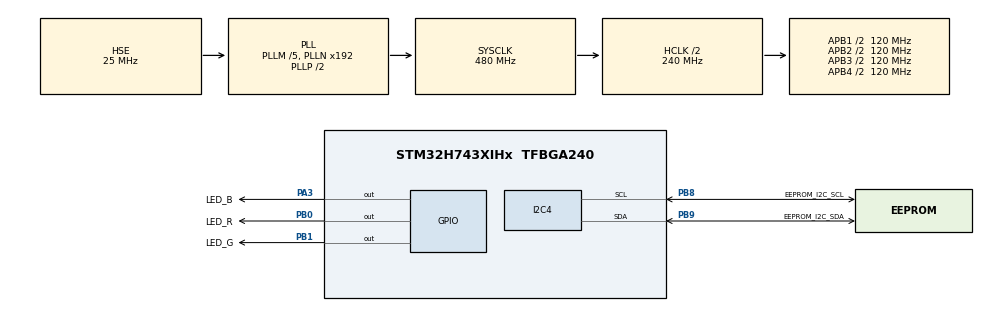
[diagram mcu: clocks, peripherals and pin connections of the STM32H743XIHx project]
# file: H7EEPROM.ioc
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I2C4.CustomTiming=Enabled
I2C4.DualAddressMode=I2C_DUALADDRESS_DISABLE
I2C4.GeneralCallMode=I2C_GENERALCALL_DISABLE
I2C4.Timing=0x40604E73
Mcu.Family=STM32H7
Mcu.Name=STM32H743XIHx
Mcu.Package=TFBGA240
NVIC.PriorityGroup=NVIC_PRIORITYGROUP_4
PA3.GPIO_Label=LED_B
PA3.PinState=GPIO_PIN_SET
PA3.Signal=GPIO_Output
PB0.GPIO_Label=LED_R
PB0.PinState=GPIO_PIN_SET
PB0.Signal=GPIO_Output
PB1.GPIO_Label=LED_G
PB1.PinState=GPIO_PIN_SET
PB1.Signal=GPIO_Output
PB8.GPIO_Label=EEPROM_I2C_SCL
PB8.Mode=I2C
PB8.Signal=I2C4_SCL
PB9.GPIO_Label=EEPROM_I2C_SDA
PB9.Mode=I2C
PB9.Signal=I2C4_SDA
PH0-OSC_IN\ (PH0).Mode=HSE-External-Oscillator
PH0-OSC_IN\ (PH0).Signal=RCC_OSC_IN
PH1-OSC_OUT\ (PH1).Mode=HSE-External-Oscillator
PH1-OSC_OUT\ (PH1).Signal=RCC_OSC_OUT
ProjectManager.HeapSize=0x200
ProjectManager.StackSize=0x400
ProjectManager.TargetToolchain=STM32CubeIDE
RCC.ADCFreq_Value=50390625
RCC.APB1Freq_Value=120000000
RCC.APB2Freq_Value=120000000
RCC.APB3Freq_Value=120000000
RCC.APB4Freq_Value=120000000
RCC.CortexFreq_Value=480000000
RCC.D1PPRE=RCC_APB3_DIV2
RCC.D2PPRE1=RCC_APB1_DIV2
RCC.D2PPRE2=RCC_APB2_DIV2
RCC.D3PPRE=RCC_APB4_DIV2
RCC.DIVM1=5
RCC.DIVN1=192
RCC.HCLKFreq_Value=240000000
RCC.HPRE=RCC_HCLK_DIV2
RCC.PLLSourceVirtual=RCC_PLLSOURCE_HSE
RCC.SYSCLKFreq_VALUE=480000000
RCC.SYSCLKSource=RCC_SYSCLKSOURCE_PLLCLK
RCC.USBFreq_Value=480000000
board=custom

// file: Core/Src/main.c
/* USER CODE BEGIN Header */
/**
  ******************************************************************************
  * @file           : main.c
  * @brief          : Main program body
  ******************************************************************************
  * @attention
  *
  * Copyright (c) 2024 STMicroelectronics.
  * All rights reserved.
  *
  * This software is licensed under terms that can be found in the LICENSE file
  * in the root directory of this software component.
  * If no LICENSE file comes with this software, it is provided AS-IS.
  *
  ******************************************************************************
  */
/* USER CODE END Header */
#include "main.h"
#include "i2c.h"
#include "gpio.h"

/* USER CODE BEGIN Includes */
#include "EEPROM.h"
/* USER CODE END Includes */

/* USER CODE BEGIN PD */
#define  DATA_Size			256
#define  EEP_Firstpage      0x00
uint8_t I2c_Buf_Write[DATA_Size];
uint8_t I2c_Buf_Read[DATA_Size];
uint8_t I2C_Test(void);
/* USER CODE END PD */

void SystemClock_Config(void);

int main(void)
{

  /* MCU Configuration--------------------------------------------------------*/

  /* Reset of all peripherals, Initializes the Flash interface and the Systick. */
  HAL_Init();

  /* Configure the system clock */
  SystemClock_Config();

  /* Initialize all configured peripherals */
  MX_GPIO_Init();
  MX_I2C4_Init();
  /* USER CODE BEGIN 2 */
    if(I2C_Test() ==1)
    {
        HAL_GPIO_WritePin(LED_G_GPIO_Port,LED_G_Pin,GPIO_PIN_RESET);
    }
    else
    {
        HAL_GPIO_WritePin(LED_R_GPIO_Port,LED_R_Pin,GPIO_PIN_RESET);
    }
  /* USER CODE END 2 */

  /* Infinite loop */
  while (1)
  {

  }
}

void SystemClock_Config(void)
{
  RCC_OscInitTypeDef RCC_OscInitStruct = {0};
  RCC_ClkInitTypeDef RCC_ClkInitStruct = {0};

  /** Supply configuration update enable
  */
  HAL_PWREx_ConfigSupply(PWR_LDO_SUPPLY);

  /** Configure the main internal regulator output voltage
  */
  __HAL_PWR_VOLTAGESCALING_CONFIG(PWR_REGULATOR_VOLTAGE_SCALE1);

  while(!__HAL_PWR_GET_FLAG(PWR_FLAG_VOSRDY)) {}

  __HAL_RCC_SYSCFG_CLK_ENABLE();
  __HAL_PWR_VOLTAGESCALING_CONFIG(PWR_REGULATOR_VOLTAGE_SCALE0);

  while(!__HAL_PWR_GET_FLAG(PWR_FLAG_VOSRDY)) {}

  /** Initializes the RCC Oscillators according to the specified parameters
  * in the RCC_OscInitTypeDef structure.
  */
  RCC_OscInitStruct.OscillatorType = RCC_OSCILLATORTYPE_HSE;
  RCC_OscInitStruct.HSEState = RCC_HSE_ON;
  RCC_OscInitStruct.PLL.PLLState = RCC_PLL_ON;
  RCC_OscInitStruct.PLL.PLLSource = RCC_PLLSOURCE_HSE;
  RCC_OscInitStruct.PLL.PLLM = 5;
  RCC_OscInitStruct.PLL.PLLN = 192;
  RCC_OscInitStruct.PLL.PLLP = 2;
  RCC_OscInitStruct.PLL.PLLQ = 2;
  RCC_OscInitStruct.PLL.PLLR = 2;
  RCC_OscInitStruct.PLL.PLLRGE = RCC_PLL1VCIRANGE_2;
  RCC_OscInitStruct.PLL.PLLVCOSEL = RCC_PLL1VCOWIDE;
  RCC_OscInitStruct.PLL.PLLFRACN = 0;
  if (HAL_RCC_OscConfig(&RCC_OscInitStruct) != HAL_OK)
  {
    Error_Handler();
  }

  /** Initializes the CPU, AHB and APB buses clocks
  */
  RCC_ClkInitStruct.ClockType = RCC_CLOCKTYPE_HCLK|RCC_CLOCKTYPE_SYSCLK
                              |RCC_CLOCKTYPE_PCLK1|RCC_CLOCKTYPE_PCLK2
                              |RCC_CLOCKTYPE_D3PCLK1|RCC_CLOCKTYPE_D1PCLK1;
  RCC_ClkInitStruct.SYSCLKSource = RCC_SYSCLKSOURCE_PLLCLK;
  RCC_ClkInitStruct.SYSCLKDivider = RCC_SYSCLK_DIV1;
  RCC_ClkInitStruct.AHBCLKDivider = RCC_HCLK_DIV2;
  RCC_ClkInitStruct.APB3CLKDivider = RCC_APB3_DIV2;
  RCC_ClkInitStruct.APB1CLKDivider = RCC_APB1_DIV2;
  RCC_ClkInitStruct.APB2CLKDivider = RCC_APB2_DIV2;
  RCC_ClkInitStruct.APB4CLKDivider = RCC_APB4_DIV2;

  if (HAL_RCC_ClockConfig(&RCC_ClkInitStruct, FLASH_LATENCY_4) != HAL_OK)
  {
    Error_Handler();
  }
}

/* USER CODE BEGIN 4 */
/**
  * @brief  I2C(AT24C02)读写测试
  * @param  �?
  * @retval 正常返回1 ，不正常返回0
  */
uint8_t I2C_Test(void)
{
    uint16_t i;

    for ( i=0; i<DATA_Size; i++ ) //填充缓冲
    {
        I2c_Buf_Write[i] =i;
        printf("0x%02X ", I2c_Buf_Write[i]);
        if(i%16 == 15)
            printf("\n\r");
    }

    I2C_EE_BufferWrite( I2c_Buf_Write, EEP_Firstpage, DATA_Size);

    I2C_EE_BufferRead(I2c_Buf_Read, EEP_Firstpage, DATA_Size);

    for (i=0; i<DATA_Size; i++)
    {
        if(I2c_Buf_Read[i] != I2c_Buf_Write[i])
        {
            return 0;
        }
    }
    return 1;
}

/* USER CODE END 4 */

void Error_Handler(void)
{
  __disable_irq();
  while (1)
  {
  }
}
